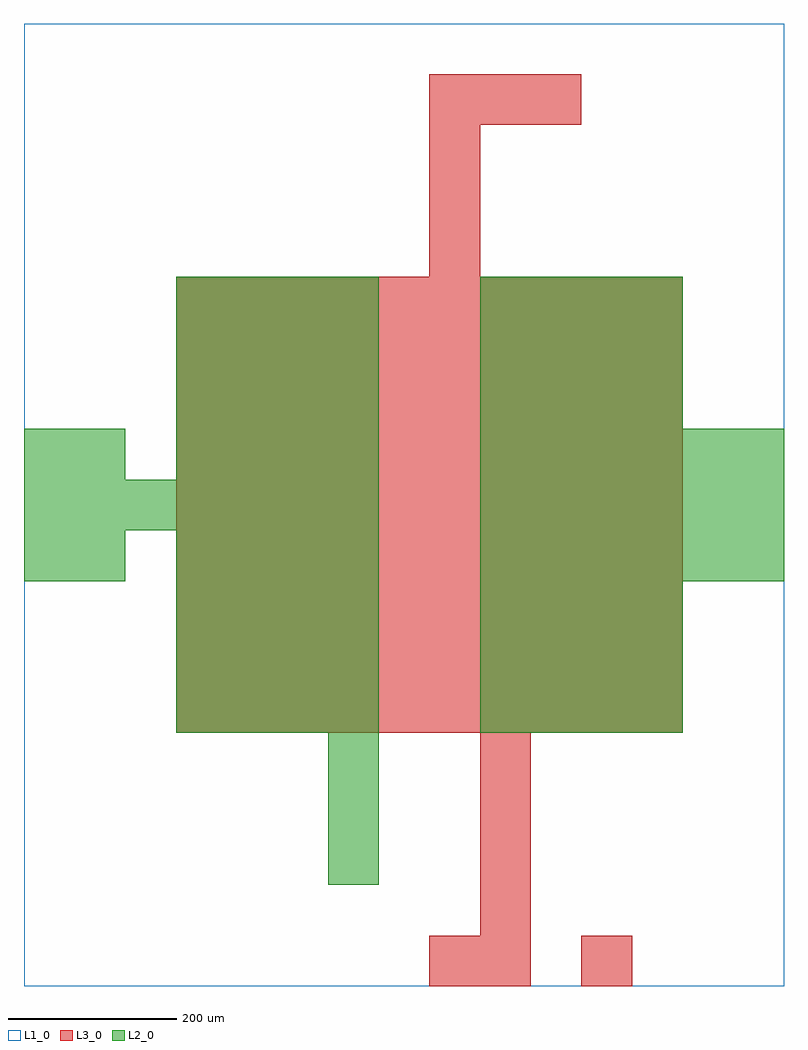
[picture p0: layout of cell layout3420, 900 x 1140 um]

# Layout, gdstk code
import gdstk
lib = gdstk.Library(unit=1e-6, precision=1e-09)
def R(c, l, rs):  # rectangles x0, y0, x1, y1
    for r in rs: c.add(gdstk.rectangle(r[:2], r[2:], *l))
def A(c, l, x, y, w, h, nx, ny, dx, dy):  # array of equal rectangles
    R(c, l, [(x+i*dx, y+j*dy, x+i*dx+w, y+j*dy+h) for i in range(nx) for j in range(ny)])
L1_0 = (1, 0)
L2_0 = (2, 0)
L3_0 = (3, 0)

layout3420 = lib.new_cell('layout3420')
R(layout3420, L1_0, [(0,0,900,1140)])
A(layout3420, L2_0, 360, 120, 60, 60, 1, 3, 0, 60)
A(layout3420, L2_0, 180, 300, 60, 60, 4, 4, 60, 60)
A(layout3420, L2_0, 540, 300, 60, 60, 4, 3, 60, 60)
A(layout3420, L2_0, 540, 480, 60, 60, 6, 3, 60, 60)
A(layout3420, L2_0, 0, 540, 60, 60, 7, 1, 60, 0)
A(layout3420, L2_0, 180, 600, 60, 60, 4, 4, 60, 60)
A(layout3420, L2_0, 540, 660, 60, 60, 4, 3, 60, 60)
R(layout3420, L2_0, [(0,480,60,540), (60,480,120,540), (0,600,60,660), (60,600,120,660)])
A(layout3420, L3_0, 540, 0, 60, 60, 1, 5, 0, 60)
A(layout3420, L3_0, 180, 300, 60, 60, 10, 9, 60, 60)
A(layout3420, L3_0, 480, 840, 60, 60, 1, 3, 0, 60)
A(layout3420, L3_0, 480, 1020, 60, 60, 3, 1, 60, 0)
R(layout3420, L3_0, [(480,0,540,60), (660,0,720,60)])

lib.write_gds('layout3420.gds')
